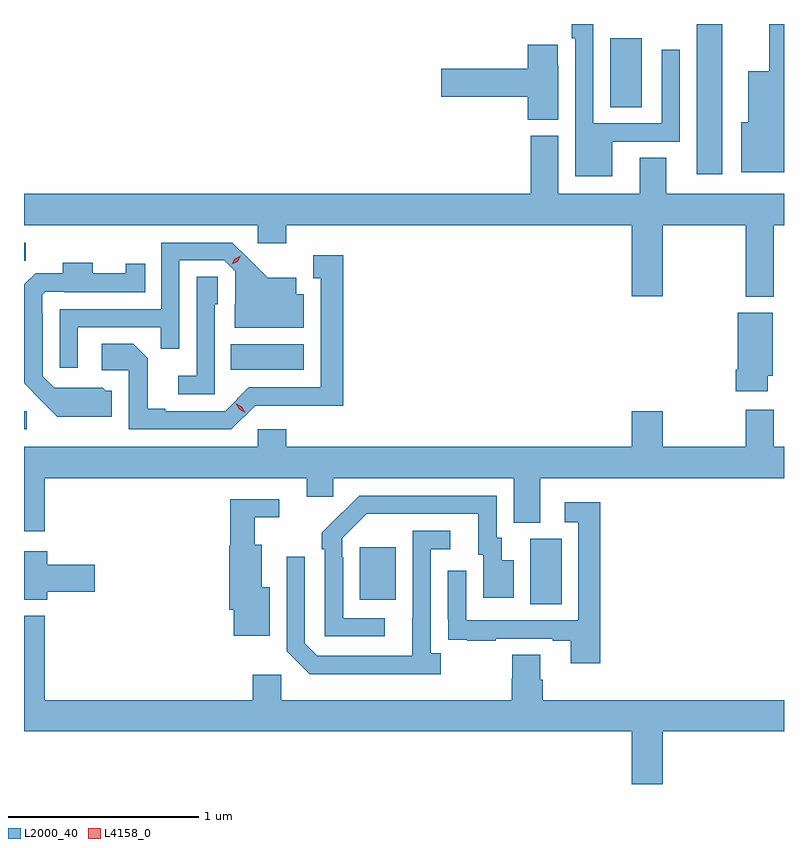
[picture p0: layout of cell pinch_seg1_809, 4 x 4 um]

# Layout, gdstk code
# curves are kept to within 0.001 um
import gdstk
lib = gdstk.Library(unit=1e-6, precision=1e-09)
def R(c, l, rs):  # rectangles x0, y0, x1, y1
    for r in rs: c.add(gdstk.rectangle(r[:2], r[2:], *l))
def P(c, l, *ps):  # polygons
    for p in ps: c.add(gdstk.Polygon(p, *l))
L2000_40 = (2000, 40)
L4158_0 = (4158, 0)

pinch_seg1_809 = lib.new_cell('pinch_seg1_809')
R(pinch_seg1_809, L2000_40, [(464.174,563.056,464.338,563.4), (463.277,563.081,463.465,563.356), (461.509,563.976,461.524,564.072), (462.598,564.29,462.982,564.424), (461.509,564.865,461.517,564.96), (465.05,565.32,465.184,566.11), (464.594,565.672,464.761,566.035)])
P(pinch_seg1_809, L2000_40, [(465.509,566.11),(465.431,566.11),(465.431,565.861),(465.32,565.861),(465.32,565.594),(465.284,565.594),(465.284,565.331),(465.509,565.331)],
  [(464.605,565.491),(464.961,565.491),(464.961,565.975),(464.865,565.975),(464.865,565.587),(464.505,565.587),(464.505,566.11),(464.393,566.11),(464.393,566.036),(464.409,566.036),(464.409,565.31),(464.605,565.31)],
  [(464.32,565.889),(464.319,565.889),(464.319,566.002),(464.159,566.002),(464.159,565.874),(463.704,565.874),(463.704,565.727),(464.159,565.727),(464.159,565.606),(464.32,565.606)],
  [(464.32,565.521),(464.177,565.521),(464.177,565.216),(461.509,565.216),(461.509,565.052),(462.738,565.052),(462.738,564.957),(462.89,564.957),(462.89,565.052),(464.708,565.052),(464.708,564.678),(464.872,564.678),(464.872,565.052),(465.307,565.052),(465.307,564.674),(465.454,564.674),(465.454,565.052),(465.509,565.052),(465.509,565.216),(464.89,565.216),(464.89,565.406),(464.75,565.406),(464.75,565.216),(464.32,565.216)],
  [(461.793,564.513),(462.229,564.513),(462.229,564.4),(462.327,564.4),(462.327,564.867),(462.564,564.867),(462.621,564.81),(462.621,564.636),(462.617,564.636),(462.617,564.512),(462.982,564.512),(462.982,564.688),(462.943,564.688),(462.943,564.775),(462.791,564.775),(462.604,564.96),(462.231,564.96),(462.231,564.609),(461.697,564.609),(461.697,564.3),(461.793,564.3)],
  [(462.726,564.102),(463.189,564.101),(463.189,564.892),(463.031,564.892),(463.031,564.771),(463.07,564.771),(463.07,564.198),(462.693,564.198),(462.567,564.072),(462.253,564.072),(462.253,564.085),(462.159,564.085),(462.159,564.352),(462.083,564.428),(461.919,564.428),(461.919,564.288),(462.06,564.288),(462.06,563.976),(462.6,563.976)],
  [(461.971,564.18),(461.94,564.18),(461.924,564.196),(461.667,564.195),(461.607,564.255),(461.607,564.584),(461.604,564.584),(461.604,564.684),(461.622,564.702),(461.722,564.702),(461.722,564.699),(462.146,564.699),(462.146,564.847),(462.045,564.847),(462.045,564.798),(461.872,564.798),(461.872,564.853),(461.714,564.853),(461.714,564.799),(461.57,564.799),(461.511,564.74),(461.511,564.218),(461.683,564.044),(461.971,564.044)],
  [(462.513,564.636),(462.528,564.636),(462.528,564.779),(462.417,564.779),(462.417,564.259),(462.321,564.259),(462.321,564.162),(462.513,564.162)],
  [(465.424,564.258),(465.451,564.258),(465.451,564.589),(465.266,564.589),(465.266,564.289),(465.254,564.289),(465.254,564.177),(465.424,564.177)],
  [(461.617,563.72),(462.998,563.72),(462.998,563.622),(463.137,563.622),(463.137,563.72),(464.087,563.72),(464.087,563.485),(464.227,563.485),(464.227,563.72),(465.509,563.72),(465.509,563.884),(465.454,563.884),(465.454,564.079),(465.307,564.079),(465.307,563.884),(464.872,563.884),(464.872,564.073),(464.708,564.073),(464.708,563.884),(462.89,563.884),(462.89,563.977),(462.738,563.977),(462.738,563.884),(461.509,563.884),(461.509,563.439),(461.617,563.439)],
  [(463.408,562.983),(463.188,562.983),(463.188,563.303),(463.185,563.303),(463.185,563.403),(463.314,563.532),(463.901,563.532),(463.901,563.316),(463.925,563.316),(463.925,563.091),(464.086,563.091),(464.086,563.287),(464.023,563.287),(464.023,563.406),(463.998,563.406),(463.998,563.628),(463.274,563.628),(463.077,563.433),(463.077,563.345),(463.092,563.345),(463.092,562.887),(463.408,562.887)],
  [(462.802,563.146),(462.76,563.146),(462.76,563.368),(462.724,563.368),(462.724,563.513),(462.853,563.513),(462.853,563.61),(462.595,563.61),(462.595,563.364),(462.59,563.364),(462.59,563.028),(462.614,563.028),(462.614,562.889),(462.802,562.889)],
  [(464.543,563.593),(464.355,563.593),(464.355,563.487),(464.427,563.487),(464.427,562.971),(463.836,562.971),(463.836,563.233),(463.74,563.233),(463.74,562.978),(463.741,562.978),(463.741,562.869),(463.843,562.869),(463.843,562.863),(463.991,562.863),(463.991,562.875),(464.291,562.875),(464.291,562.863),(464.387,562.863),(464.387,562.746),(464.543,562.746)],
  [(463.702,562.798),(463.65,562.798),(463.65,563.346),(463.753,563.346),(463.753,563.442),(463.554,563.442),(463.553,562.785),(463.053,562.785),(462.987,562.851),(462.987,563.305),(462.891,563.305),(462.891,562.809),(463.012,562.688),(463.702,562.688)],
  [(461.632,563.123),(461.881,563.123),(461.881,563.265),(461.632,563.265),(461.632,563.335),(461.509,563.335),(461.509,563.081),(461.632,563.081)],
  [(464.872,562.388),(465.509,562.388),(465.509,562.552),(464.24,562.552),(464.24,562.658),(464.227,562.658),(464.227,562.79),(464.08,562.79),(464.08,562.665),(464.075,562.665),(464.075,562.552),(462.864,562.552),(462.864,562.684),(462.713,562.684),(462.713,562.552),(461.617,562.552),(461.617,562.996),(461.509,562.996),(461.509,562.388),(464.708,562.388),(464.708,562.11),(464.872,562.11)])
P(pinch_seg1_809, L4158_0, [(462.673,564.063),(462.641,564.082),(462.623,564.114),(462.623,564.115),(462.623,564.115),(462.655,564.096),(462.673,564.063),(462.673,564.063)],
  [(462.602,564.845),(462.602,564.846),(462.619,564.875),(462.65,564.89),(462.651,564.89),(462.651,564.89),(462.633,564.86),(462.602,564.845)])

lib.write_gds('pinch_seg1_809.gds')
